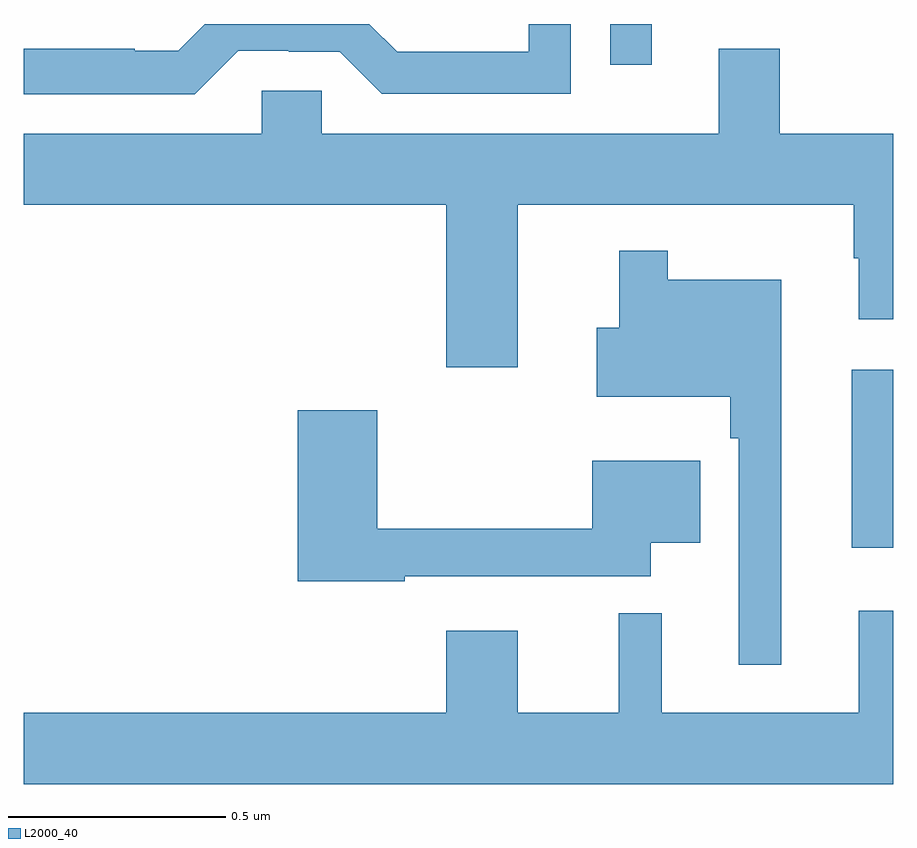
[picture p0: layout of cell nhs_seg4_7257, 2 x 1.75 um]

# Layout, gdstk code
import gdstk
lib = gdstk.Library(unit=1e-6, precision=1e-09)
def R(c, l, rs):  # rectangles x0, y0, x1, y1
    for r in rs: c.add(gdstk.rectangle(r[:2], r[2:], *l))
def P(c, l, *ps):  # polygons
    for p in ps: c.add(gdstk.Polygon(p, *l))
L2000_40 = (2000, 40)

nhs_seg4_7257 = lib.new_cell('nhs_seg4_7257')
R(nhs_seg4_7257, L2000_40, [(201.905,798.695,202,799.105), (201.349,799.806,201.445,799.9)])
P(nhs_seg4_7257, L2000_40, [(200.493,799.839),(200.609,799.839),(200.609,799.836),(200.727,799.836),(200.823,799.74),(201.258,799.74),(201.258,799.9),(201.162,799.9),(201.162,799.836),(200.859,799.836),(200.795,799.9),(200.416,799.9),(200.355,799.839),(200.255,799.839),(200.255,799.843),(200,799.843),(200,799.739),(200.393,799.739)],
  [(201.909,799.361),(201.92,799.361),(201.92,799.221),(202,799.221),(202,799.648),(201.739,799.648),(201.739,799.843),(201.599,799.843),(201.599,799.648),(200.685,799.648),(200.685,799.746),(200.547,799.746),(200.547,799.648),(200,799.648),(200,799.484),(200.972,799.484),(200.972,799.11),(201.136,799.11),(201.136,799.484),(201.909,799.484)],
  [(201.742,799.312),(201.481,799.312),(201.481,799.378),(201.37,799.378),(201.37,799.201),(201.318,799.201),(201.318,799.043),(201.625,799.043),(201.625,798.947),(201.645,798.947),(201.645,798.426),(201.742,798.426)],
  [(200.876,798.63),(201.442,798.63),(201.442,798.707),(201.556,798.707),(201.556,798.895),(201.308,798.895),(201.308,798.739),(200.813,798.739),(200.813,799.012),(200.63,799.012),(200.63,798.618),(200.876,798.618)],
  [(202,798.55),(201.92,798.55),(201.92,798.316),(201.467,798.316),(201.467,798.545),(201.368,798.545),(201.368,798.316),(201.136,798.316),(201.136,798.505),(200.972,798.505),(200.972,798.316),(200,798.316),(200,798.152),(202,798.152)])

lib.write_gds('nhs_seg4_7257.gds')
